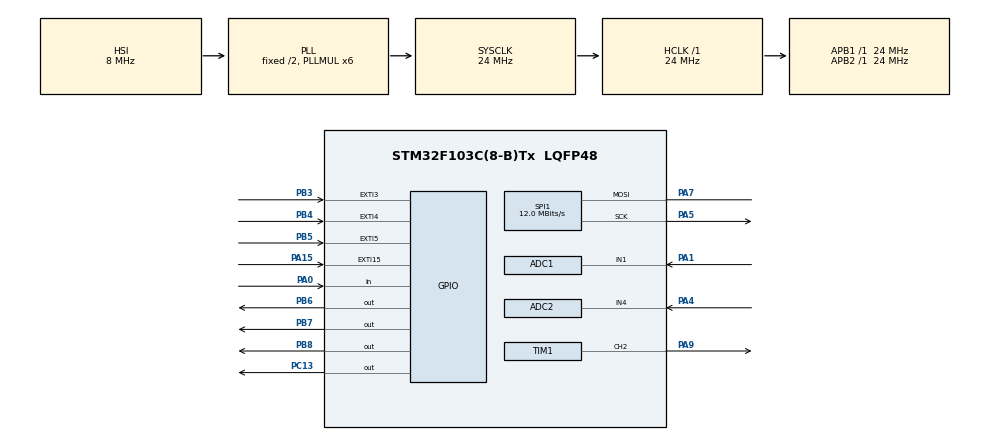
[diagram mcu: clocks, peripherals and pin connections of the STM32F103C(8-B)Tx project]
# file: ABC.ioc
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ADC1.Channel-0\#ChannelRegularConversion=ADC_CHANNEL_1
ADC1.ContinuousConvMode=ENABLE
ADC1.NbrOfConversionFlag=1
ADC1.Rank-0\#ChannelRegularConversion=1
ADC1.SamplingTime-0\#ChannelRegularConversion=ADC_SAMPLETIME_1CYCLE_5
ADC1.master=1
ADC2.Channel-0\#ChannelRegularConversion=ADC_CHANNEL_4
ADC2.ContinuousConvMode=ENABLE
ADC2.NbrOfConversionFlag=1
ADC2.Rank-0\#ChannelRegularConversion=1
ADC2.SamplingTime-0\#ChannelRegularConversion=ADC_SAMPLETIME_1CYCLE_5
Mcu.Family=STM32F1
Mcu.Name=STM32F103C(8-B)Tx
Mcu.Package=LQFP48
NVIC.EXTI15_10_IRQn=true\:0\:0\:false\:false\:true\:true\:true\:true
NVIC.EXTI3_IRQn=true\:0\:0\:false\:false\:true\:true\:true\:true
NVIC.EXTI4_IRQn=true\:0\:0\:false\:false\:true\:true\:true\:true
NVIC.EXTI9_5_IRQn=true\:0\:0\:false\:false\:true\:true\:true\:true
NVIC.PriorityGroup=NVIC_PRIORITYGROUP_4
PA0-WKUP.GPIO_PuPd=GPIO_PULLDOWN
PA0-WKUP.Signal=GPIO_Input
PA1.Signal=ADCx_IN1
PA13.Mode=Serial_Wire
PA13.Signal=SYS_JTMS-SWDIO
PA14.Mode=Serial_Wire
PA14.Signal=SYS_JTCK-SWCLK
PA15.GPIO_ModeDefaultEXTI=GPIO_MODE_IT_RISING
PA15.GPIO_PuPd=GPIO_PULLDOWN
PA15.Signal=GPXTI15
PA4.Signal=ADCx_IN4
PA5.Mode=Simplex_Bidirectional_Master
PA5.Signal=SPI1_SCK
PA7.Mode=Simplex_Bidirectional_Master
PA7.Signal=SPI1_MOSI
PA9.Signal=S_TIM1_CH2
PB3.GPIO_PuPd=GPIO_PULLDOWN
PB3.Signal=GPXTI3
PB4.GPIO_PuPd=GPIO_PULLDOWN
PB4.Signal=GPXTI4
PB5.GPIO_ModeDefaultEXTI=GPIO_MODE_IT_RISING
PB5.GPIO_PuPd=GPIO_PULLDOWN
PB5.Signal=GPXTI5
PB6.Signal=GPIO_Output
PB7.Signal=GPIO_Output
PB8.Signal=GPIO_Output
PC13-TAMPER-RTC.Signal=GPIO_Output
ProjectManager.HeapSize=0x200
ProjectManager.StackSize=0x400
ProjectManager.TargetToolchain=STM32CubeIDE
RCC.AHBFreq_Value=24000000
RCC.APB1Freq_Value=24000000
RCC.APB1TimFreq_Value=24000000
RCC.APB2Freq_Value=24000000
RCC.APB2TimFreq_Value=24000000
RCC.HCLKFreq_Value=24000000
RCC.PLLMUL=RCC_PLL_MUL6
RCC.SYSCLKFreq_VALUE=24000000
RCC.SYSCLKSource=RCC_SYSCLKSOURCE_PLLCLK
RCC.USBFreq_Value=24000000
SH.ADCx_IN1.0=ADC1_IN1,IN1
SH.ADCx_IN4.0=ADC2_IN4,IN4
SH.S_TIM1_CH2.0=TIM1_CH2,PWM Generation2 CH2
SPI1.CalculateBaudRate=12.0 MBits/s
SPI1.Direction=SPI_DIRECTION_1LINE
SPI1.Mode=SPI_MODE_MASTER
SPI1.VirtualType=VM_MASTER
TIM1.Channel-PWM\ Generation2\ CH2=TIM_CHANNEL_2
TIM1.Period=999
TIM1.Prescaler=23
VP_TIM1_VS_ClockSourceINT.Mode=Internal
board=custom

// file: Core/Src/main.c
/* USER CODE BEGIN Header */
/**
  ******************************************************************************
  * @file           : main.c
  * @brief          : Main program body
  ******************************************************************************
  * @attention
  *
  * Copyright (c) 2025 STMicroelectronics.
  * All rights reserved.
  *
  * This software is licensed under terms that can be found in the LICENSE file
  * in the root directory of this software component.
  * If no LICENSE file comes with this software, it is provided AS-IS.
  *
  ******************************************************************************
  */
/* USER CODE END Header */
#include "main.h"

/* USER CODE BEGIN Includes */
#include <stdio.h>
#include <stdlib.h>
#include <string.h>
#include "st7735.h"
#include "GFX_FUNCTIONS.h"
#include "fonts.h"
/* USER CODE END Includes */

/* USER CODE BEGIN PD */
#define TIMER_COUNTER_FREQ_HZ 1000000UL // 1MHz

#define block_size 8
#define scr_w 160
#define scr_h 128

/* USER CODE END PD */

ADC_HandleTypeDef hadc1;
ADC_HandleTypeDef hadc2;

SPI_HandleTypeDef hspi1;

TIM_HandleTypeDef htim1;

/* USER CODE BEGIN PV */
uint16_t readValueX;
uint16_t readValueY;

int a = 0;
int k = 0;

int Page = 1;
int Mode_Speed = 0;
int t_delay = 10000;

int x_head[1];
int y_head[1];

int x_body[320];
int y_body[320];

int x_black[1];
int y_black[1];

int x_target = 32;
int y_target = 32;

int i = 160;
int j = 128;

int count = 0;

//int seed = 1;

int direction = 0;

char buffer[50];//String on LCD
/* USER CODE END PV */

void SystemClock_Config(void);
static void MX_GPIO_Init(void);
static void MX_ADC1_Init(void);
static void MX_ADC2_Init(void);
static void MX_TIM1_Init(void);
static void MX_SPI1_Init(void);

/* USER CODE BEGIN 0 */

void HomeMenu() {
	ST7735_FillScreen(ST7735_BLACK);

	fillRect(48, 16, 64, 16, ST7735_BLACK);
	ST7735_WriteString(53, 16, "SPEED", Font_11x18, ST7735_WHITE, ST7735_BLACK);

	drawRect(47,47,64,26,ST7735_WHITE);
	ST7735_WriteString(64, 56, "Slow", Font_7x10, ST7735_WHITE, ST7735_BLACK);

	drawRect(47,79,64,26,ST7735_WHITE);
	ST7735_WriteString(64, 88, "Fast", Font_7x10, ST7735_WHITE, ST7735_BLACK);

	ST7735_WriteString(25, 115, "Press B to Enter", Font_7x10, ST7735_WHITE, ST7735_BLACK);

}

void SlowSelect() {

	fillRect(47,47,64,26,ST7735_RED);
	ST7735_WriteString(64, 56, "Slow", Font_7x10, ST7735_YELLOW, ST7735_RED);

	fillRect(47,79,64,26,ST7735_BLACK);
	drawRect(47,79,64,26,ST7735_WHITE);
	ST7735_WriteString(64, 88, "Fast", Font_7x10, ST7735_WHITE, ST7735_BLACK);
}

void FastSelect() {

	fillRect(47,47,64,26,ST7735_BLACK);
	drawRect(47,47,64,26,ST7735_WHITE);
	ST7735_WriteString(64, 56, "Slow", Font_7x10, ST7735_WHITE, ST7735_BLACK);

	fillRect(47,79,64,26,ST7735_RED);
	ST7735_WriteString(64, 88, "Fast", Font_7x10, ST7735_YELLOW, ST7735_RED);
}

void SetBuzzerFrequency(uint32_t frequency_hz)
{
    if (frequency_hz == 0)
    {
        HAL_TIM_PWM_Stop(&htim1, TIM_CHANNEL_2);
        return;
    }

    // Calculate ARR for the desired frequency
    // ARR = (Timer_Counter_Frequency / Desired_Frequency) - 1
    uint32_t arr_value = (TIMER_COUNTER_FREQ_HZ / frequency_hz) - 1;

    // Ensure ARR does not exceed maximum (16-bit timer)
    if (arr_value > 0xFFFF) // For a 16-bit timer (like TIM2)
    {
        arr_value = 0xFFFF; // Cap at max value if frequency is too low
    }
    if (arr_value < 1) // Ensure ARR is at least 1 to avoid division by zero or invalid state
    {
        arr_value = 1;
    }

    // Set the new ARR value
    __HAL_TIM_SET_AUTORELOAD(&htim1, arr_value);

    // Set the Pulse (Duty Cycle) - 50% for a simple tone
    // CCR = (ARR + 1) / 2
    __HAL_TIM_SET_COMPARE(&htim1, TIM_CHANNEL_2, (arr_value + 1) / 2); // Dùng TIM_CHANNEL_2

    // Start PWM on the selected channel
    HAL_TIM_PWM_Start(&htim1, TIM_CHANNEL_2); // Dùng TIM_CHANNEL_2
}

void HAL_GPIO_EXTI_Callback(uint16_t GPIO_Pin) {
	if (GPIO_Pin == GPIO_PIN_5) {
		if ((Page == 1)) {
			SlowSelect();
			Mode_Speed = 1;//slow
			t_delay = 1000;

		} else if ((Page == 2) && (k == 0)) {
			HAL_GPIO_TogglePin(GPIOA, GPIO_PIN_8);//RED LED
			ST7735_WriteString(53, 32, "PAUSE", Font_11x18, ST7735_WHITE, ST7735_BLACK);
			ST7735_WriteString(53, 60, "Press Y", Font_7x10, ST7735_WHITE, ST7735_BLACK);
			ST7735_WriteString(40, 75, "to Continue", Font_7x10, ST7735_WHITE, ST7735_BLACK);
			k = 1;
		}
	} else if ((GPIO_Pin == GPIO_PIN_4)) {
		if(Page == 1) {
			FastSelect();
			Mode_Speed = 2;//fast
			t_delay = 200;

		} else if ((Page == 2) && (k == 1)) {
			HAL_GPIO_TogglePin(GPIOB, GPIO_PIN_15);//YELLOW LED
			fillRect(32, 32, 96, 55, ST7735_BLACK);
			fillRect(x_head[0], y_head[0], block_size, block_size, ST7735_RED);
			fillRect(x_target, y_target, block_size, block_size, ST7735_BLUE);
			for (int n = 0; n < count; n++) {
				fillRect(x_body[n], y_body[n], block_size, block_size, ST7735_YELLOW);
			}
			k = 0;
		}

	} else if (GPIO_Pin == GPIO_PIN_3) {
		if((Page == 1) && (Mode_Speed != 0)) {
			Page = 2;
			ST7735_FillScreen(ST7735_BLACK);
			k = 0;

		} else {
			HAL_GPIO_TogglePin(GPIOB, GPIO_PIN_14);//GREEN LED
		}

	} else if (GPIO_Pin == GPIO_PIN_15) {
		HAL_GPIO_TogglePin(GPIOB, GPIO_PIN_13);//BLUE LED

		    NVIC_SystemReset(); // Hàm reset hệ thống

	}
}

/* USER CODE END 0 */

int main(void)
{

  /* MCU Configuration--------------------------------------------------------*/

  /* Reset of all peripherals, Initializes the Flash interface and the Systick. */
  HAL_Init();

  /* Configure the system clock */
  SystemClock_Config();

  /* Initialize all configured peripherals */
  MX_GPIO_Init();
  MX_ADC1_Init();
  MX_ADC2_Init();
  MX_TIM1_Init();
  MX_SPI1_Init();
  /* USER CODE BEGIN 2 */
  HAL_ADC_Start(&hadc1);
  HAL_ADC_Start(&hadc2);

  ST7735_Init();

  x_head[0] = 0;
  y_head[0] = 16;
  x_black [0] = scr_w - block_size;
  y_black [0] = 0;

  ST7735_FillScreen(ST7735_BLACK);

  HomeMenu();
  while (Page == 1) {
	  Page = Page;
  }

  while(Page == 2) {

  for (int n = 0; n < scr_w; n ++) {
	  ST7735_DrawPixel(n, 15, ST7735_WHITE);
  }

  sprintf(buffer, "Score %d", count);
  ST7735_WriteString(96, 0, buffer, Font_7x10, ST7735_WHITE, ST7735_BLACK);
  ST7735_WriteString(8, 0, "X: Pause", Font_7x10, ST7735_WHITE, ST7735_BLACK);
//  x_target = 96;
//  y_target = 96;
  HAL_ADC_PollForConversion(&hadc1,1000);
  readValueY = HAL_ADC_GetValue(&hadc1);
  int seed = readValueY;

  srand(seed);

      int ran_x = rand() % i;
      int ran_y = rand() % j;

      while ((ran_x % block_size != 0) || (ran_y % block_size != 0) ||
    		  (ran_y <= 16) || ((ran_x == x_head[0]) && (ran_y == y_head[0])) ||
			  ((ran_x == x_target) && (ran_y == y_target))) {

    	  	  ran_x = rand() % i;
	    	  ran_y = rand() % j;
      }
	  x_target = ran_x;
	  y_target = ran_y;

  fillRect(x_target, y_target, block_size, block_size, ST7735_BLUE);
  HAL_Delay(2000);
  fillRect(x_head[0], y_head[0], block_size, block_size, ST7735_RED);

  direction = 1;
  /* USER CODE END 2 */

  /* Infinite loop */
  /* USER CODE BEGIN WHILE */
  while (1)
  {
	/* begin*/

	 /* end*/

    /* USER CODE END WHILE */

    /* USER CODE BEGIN 3 */

			  // Eat food

			  if((x_head[0] == x_target) && (y_head[0] == y_target)) {
		           SetBuzzerFrequency(3000);
		           HAL_Delay(100);
		           SetBuzzerFrequency(0);
				  count++;
				  for(int n = count-1; n >= 0; n--) {
					  x_body[n+1] = x_body[n];
					  y_body[n+1] = y_body[n];
				  }

				  x_body[0] = x_black[0];
				  y_body[0] = y_black[0];
				  fillRect(x_body[0], y_body[0], block_size, block_size, ST7735_YELLOW);

				  //

			      ran_x = rand() % i;
			      ran_y = rand() % j;

			      for (int n = 0; n < count; n++) {
				      while ((ran_x % block_size != 0) || (ran_y % block_size != 0) || (ran_y <= 16) ||
				    		  ((ran_x == x_head[0]) && (ran_y == y_head[0])) || ((ran_x == x_body[n]) && (ran_y == y_body[n])) ||
							  ((ran_x == x_target) && (ran_y == y_target))) {

				    	  	  ran_x = rand() % i;
					    	  ran_y = rand() % j;
				      }
			      }

				  x_target = ran_x;
				  y_target = ran_y;
				  fillRect(x_target, y_target, block_size, block_size, ST7735_BLUE);
				  //

			    sprintf(buffer, "Score %d", count);
				ST7735_WriteString(96, 0, buffer, Font_7x10, ST7735_WHITE, ST7735_BLACK);

			  }

			  //Move without body
			  if (count == 0) {
				  HAL_Delay(t_delay);
				  if (k == 0) {
					  x_black[0] = x_head[0];
					  y_black[0] = y_head[0];

					  fillRect(x_black[0], y_black[0], block_size, block_size, ST7735_BLACK);
				  }
			  }

			  //Move with body
			  if (count > 0) {
				  HAL_Delay(t_delay);
				  if (k == 0) {
					  x_black[0] = x_body[0];
					  y_black[0] = y_body[0];
					  fillRect(x_black[0], y_black[0], block_size, block_size, ST7735_BLACK);

					  for (int n = 0; n < (count-1); n++){
						  x_body[n] = x_body[n+1];
						  y_body[n] = y_body[n+1];
						  fillRect(x_body[n], y_body[n], block_size, block_size, ST7735_YELLOW);
					  }
					  x_body[count-1] = x_head[0];
					  y_body[count-1] = y_head[0];

					  fillRect(x_body[count -1], y_body[count -1], block_size, block_size, ST7735_YELLOW);
				  }
			  }

			  //Read Joystick's Value
			  if (k == 0) {
				    HAL_ADC_PollForConversion(&hadc1,1000);
				    readValueY = HAL_ADC_GetValue(&hadc1);
				    HAL_ADC_PollForConversion(&hadc2,1000);
				    readValueX = HAL_ADC_GetValue(&hadc2);

				    if ((readValueX > 2500)  && (direction != 4)) {//down
				    	direction = 2;
				    } else if ((readValueY < 1000) && (direction != 1)) {//left
				    	direction = 3;
				    } else if ((readValueX < 1000) && (direction != 2)) {//up
				    	direction = 4;
				    } else if ((readValueY > 2500) && (direction != 3)) {//right
				    	direction = 1;
				    }

			   // Direction Modify

				  if (direction == 1) {
					  if (x_head[0] == scr_w - block_size) {
						  x_head[0] = 0;
					  } else {
						  x_head[0] = x_head[0] + block_size;
					  }
					  fillRect(x_head[0], y_head[0], block_size, block_size, ST7735_RED);
				  } else if (direction == 2) {
					  if (y_head[0] == scr_h - block_size) {
						  y_head[0] = 16;
					  } else {
						  y_head[0] = y_head[0] + block_size;
					  }
					  fillRect(x_head[0], y_head[0], block_size, block_size, ST7735_RED);
				  } else if (direction == 3) {
					  if (x_head[0] == 0) {
						  x_head[0] = scr_w - block_size;
					  } else {
						  x_head[0] = x_head[0] - block_size;
					  }
					  fillRect(x_head[0], y_head[0], block_size, block_size, ST7735_RED);
				  } else if (direction ==  4) {
					  if (y_head[0] == 16) {
						  y_head[0] = scr_h - block_size;
					  } else {
						  y_head[0] = y_head[0] - block_size;
					  }
					  fillRect(x_head[0], y_head[0], block_size, block_size, ST7735_RED);
				  }

				  //Game Over

				  for (int n = 0; n < count; n++) {
					  if ((x_head[0] == x_body[n]) && (y_head[0] == y_body[n])) {
				           SetBuzzerFrequency(4000);
				           HAL_Delay(1000);
				           SetBuzzerFrequency(3500);
				           HAL_Delay(1000);
				           SetBuzzerFrequency(2500);
				           HAL_Delay(1000);
				           SetBuzzerFrequency(0);

				           //k=1
				           ST7735_FillScreen(ST7735_BLACK);
						  while(k == 0) {
							  HAL_Delay(1000);
						  	  ST7735_WriteString(56, 32, "GAME", Font_11x18, ST7735_RED, ST7735_BLACK);
						  	  ST7735_WriteString(56, 57, "OVER", Font_11x18, ST7735_RED, ST7735_BLACK);
						  	  HAL_Delay(1000);
						  	  ST7735_WriteString(56, 32, "GAME", Font_11x18, ST7735_YELLOW, ST7735_BLACK);
						  	  ST7735_WriteString(56, 57, "OVER", Font_11x18, ST7735_YELLOW, ST7735_BLACK);

								ST7735_WriteString(53, 92, "Press A", Font_7x10, ST7735_WHITE, ST7735_BLACK);
								ST7735_WriteString(35, 105, "to Play Again", Font_7x10, ST7735_WHITE, ST7735_BLACK);
								k = 2;
						  }

					  }
				  }
			  }

  }
}
  /* USER CODE END 3 */
}

void SystemClock_Config(void)
{
  RCC_OscInitTypeDef RCC_OscInitStruct = {0};
  RCC_ClkInitTypeDef RCC_ClkInitStruct = {0};
  RCC_PeriphCLKInitTypeDef PeriphClkInit = {0};

  /** Initializes the RCC Oscillators according to the specified parameters
  * in the RCC_OscInitTypeDef structure.
  */
  RCC_OscInitStruct.OscillatorType = RCC_OSCILLATORTYPE_HSI;
  RCC_OscInitStruct.HSIState = RCC_HSI_ON;
  RCC_OscInitStruct.HSICalibrationValue = RCC_HSICALIBRATION_DEFAULT;
  RCC_OscInitStruct.PLL.PLLState = RCC_PLL_ON;
  RCC_OscInitStruct.PLL.PLLSource = RCC_PLLSOURCE_HSI_DIV2;
  RCC_OscInitStruct.PLL.PLLMUL = RCC_PLL_MUL6;
  if (HAL_RCC_OscConfig(&RCC_OscInitStruct) != HAL_OK)
  {
    Error_Handler();
  }

  /** Initializes the CPU, AHB and APB buses clocks
  */
  RCC_ClkInitStruct.ClockType = RCC_CLOCKTYPE_HCLK|RCC_CLOCKTYPE_SYSCLK
                              |RCC_CLOCKTYPE_PCLK1|RCC_CLOCKTYPE_PCLK2;
  RCC_ClkInitStruct.SYSCLKSource = RCC_SYSCLKSOURCE_PLLCLK;
  RCC_ClkInitStruct.AHBCLKDivider = RCC_SYSCLK_DIV1;
  RCC_ClkInitStruct.APB1CLKDivider = RCC_HCLK_DIV1;
  RCC_ClkInitStruct.APB2CLKDivider = RCC_HCLK_DIV1;

  if (HAL_RCC_ClockConfig(&RCC_ClkInitStruct, FLASH_LATENCY_0) != HAL_OK)
  {
    Error_Handler();
  }
  PeriphClkInit.PeriphClockSelection = RCC_PERIPHCLK_ADC;
  PeriphClkInit.AdcClockSelection = RCC_ADCPCLK2_DIV2;
  if (HAL_RCCEx_PeriphCLKConfig(&PeriphClkInit) != HAL_OK)
  {
    Error_Handler();
  }
}

static void MX_ADC1_Init(void)
{

  ADC_ChannelConfTypeDef sConfig = {0};

  /** Common config
  */
  hadc1.Instance = ADC1;
  hadc1.Init.ScanConvMode = ADC_SCAN_DISABLE;
  hadc1.Init.ContinuousConvMode = ENABLE;
  hadc1.Init.DiscontinuousConvMode = DISABLE;
  hadc1.Init.ExternalTrigConv = ADC_SOFTWARE_START;
  hadc1.Init.DataAlign = ADC_DATAALIGN_RIGHT;
  hadc1.Init.NbrOfConversion = 1;
  if (HAL_ADC_Init(&hadc1) != HAL_OK)
  {
    Error_Handler();
  }

  /** Configure Regular Channel
  */
  sConfig.Channel = ADC_CHANNEL_1;
  sConfig.Rank = ADC_REGULAR_RANK_1;
  sConfig.SamplingTime = ADC_SAMPLETIME_1CYCLE_5;
  if (HAL_ADC_ConfigChannel(&hadc1, &sConfig) != HAL_OK)
  {
    Error_Handler();
  }

}

static void MX_ADC2_Init(void)
{

  ADC_ChannelConfTypeDef sConfig = {0};

  /** Common config
  */
  hadc2.Instance = ADC2;
  hadc2.Init.ScanConvMode = ADC_SCAN_DISABLE;
  hadc2.Init.ContinuousConvMode = ENABLE;
  hadc2.Init.DiscontinuousConvMode = DISABLE;
  hadc2.Init.ExternalTrigConv = ADC_SOFTWARE_START;
  hadc2.Init.DataAlign = ADC_DATAALIGN_RIGHT;
  hadc2.Init.NbrOfConversion = 1;
  if (HAL_ADC_Init(&hadc2) != HAL_OK)
  {
    Error_Handler();
  }

  /** Configure Regular Channel
  */
  sConfig.Channel = ADC_CHANNEL_4;
  sConfig.Rank = ADC_REGULAR_RANK_1;
  sConfig.SamplingTime = ADC_SAMPLETIME_1CYCLE_5;
  if (HAL_ADC_ConfigChannel(&hadc2, &sConfig) != HAL_OK)
  {
    Error_Handler();
  }

}

static void MX_SPI1_Init(void)
{

  /* SPI1 parameter configuration*/
  hspi1.Instance = SPI1;
  hspi1.Init.Mode = SPI_MODE_MASTER;
  hspi1.Init.Direction = SPI_DIRECTION_1LINE;
  hspi1.Init.DataSize = SPI_DATASIZE_8BIT;
  hspi1.Init.CLKPolarity = SPI_POLARITY_LOW;
  hspi1.Init.CLKPhase = SPI_PHASE_1EDGE;
  hspi1.Init.NSS = SPI_NSS_SOFT;
  hspi1.Init.BaudRatePrescaler = SPI_BAUDRATEPRESCALER_2;
  hspi1.Init.FirstBit = SPI_FIRSTBIT_MSB;
  hspi1.Init.TIMode = SPI_TIMODE_DISABLE;
  hspi1.Init.CRCCalculation = SPI_CRCCALCULATION_DISABLE;
  hspi1.Init.CRCPolynomial = 10;
  if (HAL_SPI_Init(&hspi1) != HAL_OK)
  {
    Error_Handler();
  }

}

static void MX_TIM1_Init(void)
{

  TIM_ClockConfigTypeDef sClockSourceConfig = {0};
  TIM_MasterConfigTypeDef sMasterConfig = {0};
  TIM_OC_InitTypeDef sConfigOC = {0};
  TIM_BreakDeadTimeConfigTypeDef sBreakDeadTimeConfig = {0};

  htim1.Instance = TIM1;
  htim1.Init.Prescaler = 23;
  htim1.Init.CounterMode = TIM_COUNTERMODE_UP;
  htim1.Init.Period = 999;
  htim1.Init.ClockDivision = TIM_CLOCKDIVISION_DIV1;
  htim1.Init.RepetitionCounter = 0;
  htim1.Init.AutoReloadPreload = TIM_AUTORELOAD_PRELOAD_DISABLE;
  if (HAL_TIM_Base_Init(&htim1) != HAL_OK)
  {
    Error_Handler();
  }
  sClockSourceConfig.ClockSource = TIM_CLOCKSOURCE_INTERNAL;
  if (HAL_TIM_ConfigClockSource(&htim1, &sClockSourceConfig) != HAL_OK)
  {
    Error_Handler();
  }
  if (HAL_TIM_PWM_Init(&htim1) != HAL_OK)
  {
    Error_Handler();
  }
  sMasterConfig.MasterOutputTrigger = TIM_TRGO_RESET;
  sMasterConfig.MasterSlaveMode = TIM_MASTERSLAVEMODE_DISABLE;
  if (HAL_TIMEx_MasterConfigSynchronization(&htim1, &sMasterConfig) != HAL_OK)
  {
    Error_Handler();
  }
  sConfigOC.OCMode = TIM_OCMODE_PWM1;
  sConfigOC.Pulse = 0;
  sConfigOC.OCPolarity = TIM_OCPOLARITY_HIGH;
  sConfigOC.OCNPolarity = TIM_OCNPOLARITY_HIGH;
  sConfigOC.OCFastMode = TIM_OCFAST_DISABLE;
  sConfigOC.OCIdleState = TIM_OCIDLESTATE_RESET;
  sConfigOC.OCNIdleState = TIM_OCNIDLESTATE_RESET;
  if (HAL_TIM_PWM_ConfigChannel(&htim1, &sConfigOC, TIM_CHANNEL_2) != HAL_OK)
  {
    Error_Handler();
  }
  sBreakDeadTimeConfig.OffStateRunMode = TIM_OSSR_DISABLE;
  sBreakDeadTimeConfig.OffStateIDLEMode = TIM_OSSI_DISABLE;
  sBreakDeadTimeConfig.LockLevel = TIM_LOCKLEVEL_OFF;
  sBreakDeadTimeConfig.DeadTime = 0;
  sBreakDeadTimeConfig.BreakState = TIM_BREAK_DISABLE;
  sBreakDeadTimeConfig.BreakPolarity = TIM_BREAKPOLARITY_HIGH;
  sBreakDeadTimeConfig.AutomaticOutput = TIM_AUTOMATICOUTPUT_DISABLE;
  if (HAL_TIMEx_ConfigBreakDeadTime(&htim1, &sBreakDeadTimeConfig) != HAL_OK)
  {
    Error_Handler();
  }
  HAL_TIM_MspPostInit(&htim1);

}

static void MX_GPIO_Init(void)
{
  GPIO_InitTypeDef GPIO_InitStruct = {0};

  /* GPIO Ports Clock Enable */
  __HAL_RCC_GPIOC_CLK_ENABLE();
  __HAL_RCC_GPIOA_CLK_ENABLE();
  __HAL_RCC_GPIOB_CLK_ENABLE();

  /*Configure GPIO pin Output Level */
  HAL_GPIO_WritePin(GPIOC, GPIO_PIN_13, GPIO_PIN_RESET);

  /*Configure GPIO pin Output Level */
  HAL_GPIO_WritePin(GPIOB, GPIO_PIN_6|GPIO_PIN_7|GPIO_PIN_8, GPIO_PIN_RESET);

  /*Configure GPIO pin : PC13 */
  GPIO_InitStruct.Pin = GPIO_PIN_13;
  GPIO_InitStruct.Mode = GPIO_MODE_OUTPUT_PP;
  GPIO_InitStruct.Pull = GPIO_NOPULL;
  GPIO_InitStruct.Speed = GPIO_SPEED_FREQ_LOW;
  HAL_GPIO_Init(GPIOC, &GPIO_InitStruct);

  /*Configure GPIO pin : PA0 */
  GPIO_InitStruct.Pin = GPIO_PIN_0;
  GPIO_InitStruct.Mode = GPIO_MODE_INPUT;
  GPIO_InitStruct.Pull = GPIO_PULLDOWN;
  HAL_GPIO_Init(GPIOA, &GPIO_InitStruct);

  /*Configure GPIO pin : PA15 */
  GPIO_InitStruct.Pin = GPIO_PIN_15;
  GPIO_InitStruct.Mode = GPIO_MODE_IT_RISING;
  GPIO_InitStruct.Pull = GPIO_PULLDOWN;
  HAL_GPIO_Init(GPIOA, &GPIO_InitStruct);

  /*Configure GPIO pins : PB3 PB4 PB5 */
  GPIO_InitStruct.Pin = GPIO_PIN_3|GPIO_PIN_4|GPIO_PIN_5;
  GPIO_InitStruct.Mode = GPIO_MODE_IT_RISING;
  GPIO_InitStruct.Pull = GPIO_PULLDOWN;
  HAL_GPIO_Init(GPIOB, &GPIO_InitStruct);

  /*Configure GPIO pins : PB6 PB7 PB8 */
  GPIO_InitStruct.Pin = GPIO_PIN_6|GPIO_PIN_7|GPIO_PIN_8;
  GPIO_InitStruct.Mode = GPIO_MODE_OUTPUT_PP;
  GPIO_InitStruct.Pull = GPIO_NOPULL;
  GPIO_InitStruct.Speed = GPIO_SPEED_FREQ_LOW;
  HAL_GPIO_Init(GPIOB, &GPIO_InitStruct);

  /* EXTI interrupt init*/
  HAL_NVIC_SetPriority(EXTI3_IRQn, 0, 0);
  HAL_NVIC_EnableIRQ(EXTI3_IRQn);

  HAL_NVIC_SetPriority(EXTI4_IRQn, 0, 0);
  HAL_NVIC_EnableIRQ(EXTI4_IRQn);

  HAL_NVIC_SetPriority(EXTI9_5_IRQn, 0, 0);
  HAL_NVIC_EnableIRQ(EXTI9_5_IRQn);

  HAL_NVIC_SetPriority(EXTI15_10_IRQn, 0, 0);
  HAL_NVIC_EnableIRQ(EXTI15_10_IRQn);

}

void Error_Handler(void)
{
  __disable_irq();
  while (1)
  {
  }
}
